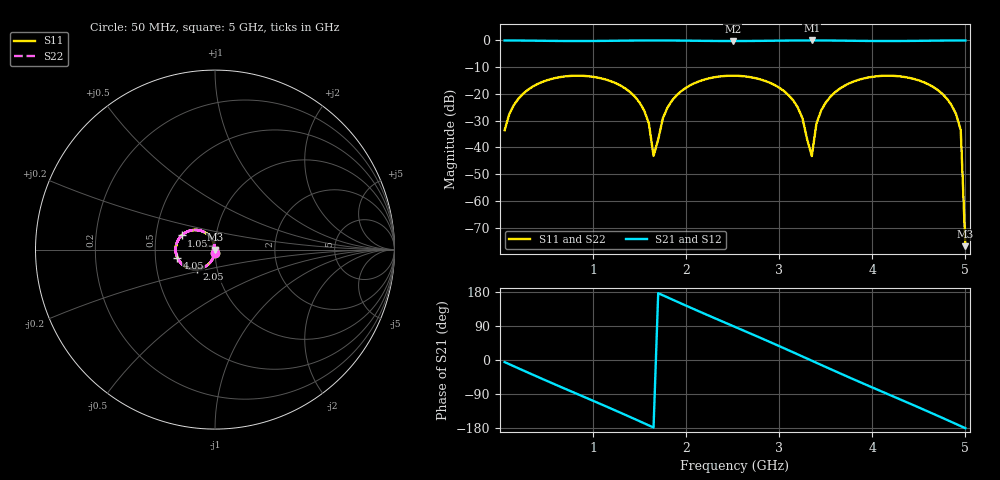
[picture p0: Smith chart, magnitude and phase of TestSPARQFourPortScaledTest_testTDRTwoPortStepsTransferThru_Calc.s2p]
# MHz MA S R 50.0
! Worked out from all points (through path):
!   100 points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, 50 MHz to 5 GHz, reference 50 ohm
!   highest |S21| = 0.00 dB at 3.35 GHz (marker M1); lowest = -0.2 dB at 2.5 GHz (marker M2)
!   group delay of S21, straight-line fit = 300 ps
!   lowest |S11| = -76.9 dB at 5 GHz (marker M3), VSWR 1.00, Z = 50 + j0 ohm
!   |S11| at or under -10 dB: start of sweep to end of sweep
!   |S22| runs from -106.0 to -13.2 dB; largest |S21 - S12| = 0.0001
!   S11 on the Smith chart (normalised r, x): 50 MHz: 1.00, -0.04; 1.05 GHz: 0.68, +0.11; 2.05 GHz: 0.80, -0.18; 4.05 GHz: 0.65, -0.06; 5 GHz: 1.00, +0.00
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50  0.02103 -95.2  0.9998 -5.5  0.9999 -5.5  0.02121 -95.5
300  0.1195 -123.1  0.9928 -33.0  0.9929 -33.0  0.1196 -123.0
900  0.2178 173.0  0.976 -97.0  0.9761 -97.0  0.2178 173.0
1050  0.2022 157.1  0.9793 -112.9  0.9793 -112.9  0.2023 157.1
1500  0.06918 108.4  0.9976 -161.6  0.9975 -161.6  0.06945 108.4
1600  0.02798 96.9  0.9996 -172.6  0.9996 -172.6  0.02826 97.5
1650  0.006947 90.5  1 -178.2  1 -178.2  0.007091 92.4
1700  0.01414 -93.1  0.9999 176.3  0.9999 176.3  0.01416 -94.0
1800  0.05577 -104.7  0.9985 165.3  0.9985 165.3  0.05594 -104.8
2050  0.1472 -132.1  0.9891 137.9  0.989 137.9  0.1471 -132.1
2500  0.2195 180.0  0.9756 90.0  0.9756 90.0  0.2195 -180.0
2550  0.2185 174.7  0.9759 84.7  0.9758 84.7  0.2185 174.7
3100  0.09526 115.8  0.9955 25.8  0.9955 25.7  0.09537 115.7
3350  0.006919 -90.0  1 -1.8  1 -1.8  0.007103 -92.5
3400  0.02795 -96.8  0.9997 -7.4  0.9996 -7.4  0.02827 -97.6
3550  0.08883 -113.9  0.9961 -23.9  0.996 -23.9  0.08908 -113.9
4050  0.2144 -167.7  0.9767 -77.7  0.9768 -77.7  0.2144 -167.7
4200  0.2191 176.5  0.9757 -93.5  0.9757 -93.5  0.2191 176.5
4650  0.1366 128.5  0.9907 -141.5  0.9907 -141.5  0.1365 128.5
4900  0.04195 101.0  0.9991 -168.9  0.9992 -168.9  0.04215 101.0
4950  0.02106 95.2  0.9998 -174.5  0.9998 -174.5  0.02119 95.5
5000  0.000143 0.0  1 -180.0  1 -180.0  5e-06 0.0
